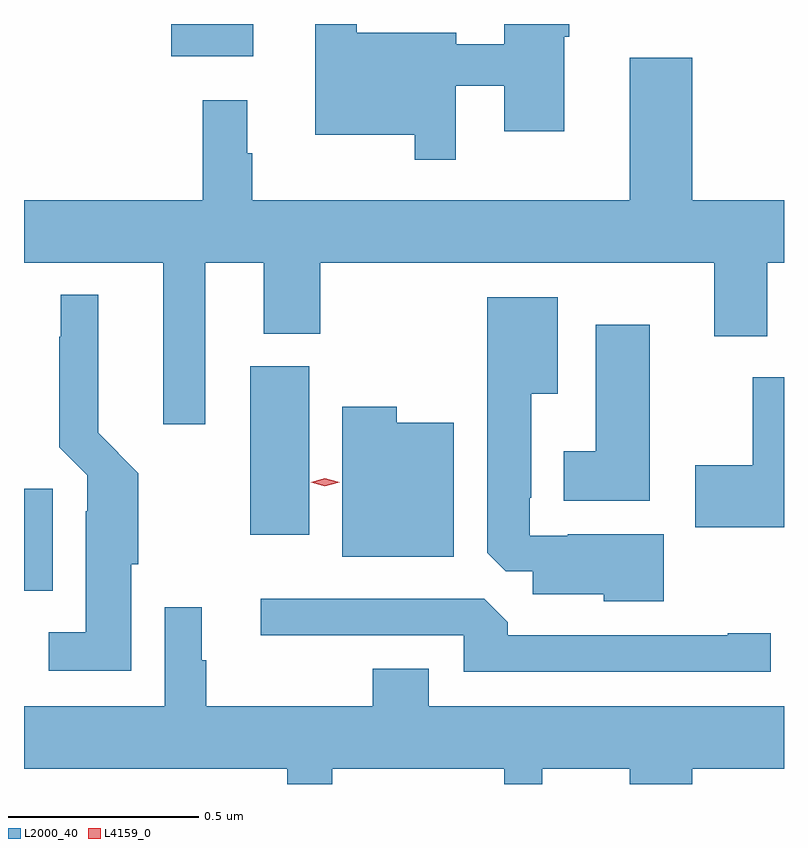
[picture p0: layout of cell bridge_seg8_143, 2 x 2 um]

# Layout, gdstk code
import gdstk
lib = gdstk.Library(unit=1e-6, precision=1e-09)
def R(c, l, rs):  # rectangles x0, y0, x1, y1
    for r in rs: c.add(gdstk.rectangle(r[:2], r[2:], *l))
def P(c, l, *ps):  # polygons
    for p in ps: c.add(gdstk.Polygon(p, *l))
L2000_40 = (2000, 40)
L4159_0 = (4159, 0)

bridge_seg8_143 = lib.new_cell('bridge_seg8_143')
R(bridge_seg8_143, L2000_40, [(523.054,1144.941,523.129,1145.209), (523.649,1145.088,523.804,1145.532), (523.442,1146.347,523.657,1146.432)])
P(bridge_seg8_143, L2000_40, [(524.19,1146.27),(524.318,1146.27),(524.318,1146.15),(524.476,1146.15),(524.476,1146.398),(524.489,1146.398),(524.489,1146.432),(524.318,1146.432),(524.318,1146.379),(524.191,1146.379),(524.191,1146.409),(523.93,1146.409),(523.93,1146.432),(523.82,1146.432),(523.82,1146.14),(524.082,1146.14),(524.082,1146.075),(524.19,1146.075)],
  [(523.531,1145.804),(523.685,1145.804),(523.685,1145.617),(523.833,1145.617),(523.833,1145.804),(524.87,1145.804),(524.87,1145.61),(525.01,1145.61),(525.01,1145.804),(525.054,1145.804),(525.054,1145.968),(524.812,1145.968),(524.812,1146.343),(524.648,1146.343),(524.648,1145.968),(523.654,1145.968),(523.654,1146.092),(523.642,1146.092),(523.642,1146.232),(523.525,1146.232),(523.525,1145.968),(523.054,1145.968),(523.054,1145.804),(523.421,1145.804),(523.421,1145.379),(523.531,1145.379)],
  [(523.336,1145.01),(523.354,1145.01),(523.354,1145.25),(523.249,1145.356),(523.249,1145.719),(523.151,1145.719),(523.151,1145.609),(523.147,1145.609),(523.147,1145.318),(523.221,1145.244),(523.221,1145.15),(523.217,1145.15),(523.217,1144.831),(523.119,1144.831),(523.119,1144.73),(523.336,1144.73)],
  [(524.737,1145.089),(524.485,1145.089),(524.485,1145.085),(524.385,1145.085),(524.385,1145.185),(524.389,1145.185),(524.389,1145.459),(524.458,1145.459),(524.458,1145.713),(524.273,1145.713),(524.273,1145.041),(524.322,1144.992),(524.393,1144.992),(524.393,1144.931),(524.58,1144.931),(524.58,1144.913),(524.737,1144.913)],
  [(524.701,1145.641),(524.558,1145.641),(524.558,1145.308),(524.474,1145.308),(524.474,1145.177),(524.701,1145.177)],
  [(525.054,1145.503),(524.972,1145.503),(524.972,1145.271),(524.82,1145.271),(524.82,1145.108),(525.054,1145.108)],
  [(524.185,1145.383),(524.035,1145.383),(524.035,1145.425),(523.892,1145.425),(523.892,1145.03),(524.185,1145.03)],
  [(525.019,1144.829),(524.906,1144.829),(524.906,1144.824),(524.327,1144.824),(524.327,1144.858),(524.265,1144.92),(523.677,1144.92),(523.677,1144.824),(524.211,1144.824),(524.211,1144.728),(525.019,1144.728)],
  [(523.865,1144.472),(524.318,1144.472),(524.318,1144.432),(524.418,1144.432),(524.418,1144.472),(524.648,1144.472),(524.648,1144.432),(524.812,1144.432),(524.812,1144.472),(525.054,1144.472),(525.054,1144.636),(524.119,1144.636),(524.119,1144.735),(523.972,1144.735),(523.972,1144.636),(523.534,1144.636),(523.534,1144.758),(523.522,1144.758),(523.522,1144.897),(523.425,1144.897),(523.425,1144.636),(523.054,1144.636),(523.054,1144.472),(523.747,1144.472),(523.747,1144.432),(523.865,1144.432)])
P(bridge_seg8_143, L4159_0, [(523.846,1145.216),(523.808,1145.226),(523.808,1145.226),(523.808,1145.226),(523.846,1145.236),(523.885,1145.226),(523.885,1145.226),(523.885,1145.226)])

lib.write_gds('bridge_seg8_143.gds')
